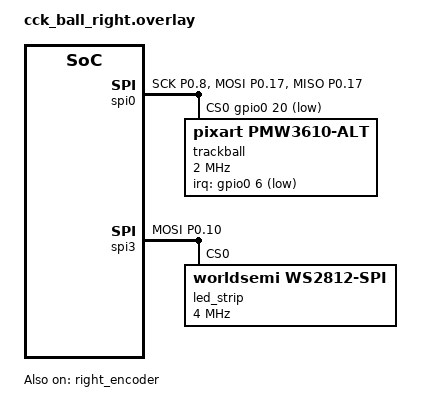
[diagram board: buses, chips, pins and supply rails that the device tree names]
/*
 * Copyright (c) 2020 ZMK Contributors
 *
 * SPDX-License-Identifier: MIT
 */
 
#include "cck_ball.dtsi"
#include <input/processors.dtsi>
#include <dt-bindings/zmk/input_transform.h>

#define INPUT_EV_KEY 0x01               /**< Key event */
#define INPUT_EV_REL 0x02               /**< Relative coordinate event */
#define INPUT_EV_ABS 0x03               /**< Absolute coordinate event */
#define INPUT_EV_MSC 0x04               /**< Miscellaneous event */
#define INPUT_EV_VENDOR_START 0xf0      /**< Vendor specific event start */
#define INPUT_EV_VENDOR_STOP 0xff       /**< Vendor specific event stop */

#define INPUT_REL_X 0x00                /**< Relative X coordinate */
#define INPUT_REL_Y 0x01                /**< Relative Y coordinate */
#define INPUT_REL_WHEEL 0x08            /**< Relative wheel coordinate */
#define INPUT_REL_HWHEEL 0x06           /**< Relative horizontal wheel coordinate */
#define INPUT_REL_MISC 0x09             /**< Relative misc coordinate */

&matrix_transform0 {
    col-offset = <6>;
}; 

&kscan0 {
	col-gpios
		= <&gpio1 15 GPIO_ACTIVE_HIGH>
        , <&gpio0 9 GPIO_ACTIVE_HIGH>
        , <&gpio0 10 GPIO_ACTIVE_HIGH>
        , <&gpio1 11 GPIO_ACTIVE_HIGH>
        , <&gpio1 4 GPIO_ACTIVE_HIGH>
        , <&gpio1 6 GPIO_ACTIVE_HIGH>
		;
};

// trackball
&pinctrl {
    spi0_default: spi0_default {
        group1 {
            psels = <NRF_PSEL(SPIM_SCK, 0, 8)>,
                <NRF_PSEL(SPIM_MOSI, 0, 17)>,
                <NRF_PSEL(SPIM_MISO, 0, 17)>;
        };
    };

    spi0_sleep: spi0_sleep {
        group1 {
            psels = <NRF_PSEL(SPIM_SCK, 0, 8)>,
                <NRF_PSEL(SPIM_MOSI, 0, 17)>,
                <NRF_PSEL(SPIM_MISO, 0, 17)>;
            low-power-enable;
        };
    };
};

&spi0 {
    status = "okay";
    compatible = "nordic,nrf-spim";
    pinctrl-0 = <&spi0_default>;
    pinctrl-1 = <&spi0_sleep>;
    pinctrl-names = "default", "sleep";
    cs-gpios = <&gpio0 20 GPIO_ACTIVE_LOW>;

    trackball: trackball@0 {
        status = "okay";
        compatible = "pixart,pmw3610-alt";
        reg = <0>;
        spi-max-frequency = <2000000>;
        irq-gpios = <&gpio0 6 (GPIO_ACTIVE_LOW | GPIO_PULL_UP)>;
        cpi = <600>;
        swap-xy;
        evt-type = <INPUT_EV_REL>;
        x-input-code = <INPUT_REL_X>;
        y-input-code = <INPUT_REL_Y>;
    };
};

/ {
    trackball_listener {
        compatible = "zmk,input-listener";
        device = <&trackball>;

        input-processors = <&zip_temp_layer 8 500>;

        scroller {
            layers = <4>;
            input-processors = <&zip_xy_to_scroll_mapper>,
                               <&zip_xy_transform (INPUT_TRANSFORM_X_INVERT | INPUT_TRANSFORM_Y_INVERT)>;
        };
    };
};

//RGB bus
&pinctrl {
    spi3_default: spi3_default {
        group1 {
            psels = <NRF_PSEL(SPIM_MOSI, 0, 10)>;
        };
    };

    spi3_sleep: spi3_sleep {
        group1 {
            psels = <NRF_PSEL(SPIM_MOSI, 0, 10)>;
            low-power-enable;
        };
    };
};

&spi3 {
    compatible = "nordic,nrf-spim";
    status = "okay";

    pinctrl-0 = <&spi3_default>;
    pinctrl-1 = <&spi3_sleep>;
    pinctrl-names = "default", "sleep";

    led_strip: ws2812@0 {
        compatible = "worldsemi,ws2812-spi";

        /* SPI */
        reg = <0>; /* ignored, but necessary for SPI bindings */
        spi-max-frequency = <4000000>;

        /* WS2812 */
        chain-length = <27>; /* number of LEDs */
        spi-one-frame = <0x70>;
        spi-zero-frame = <0x40>;
        color-mapping = <LED_COLOR_ID_GREEN
                         LED_COLOR_ID_RED
                         LED_COLOR_ID_BLUE>;
    };
};

// enable right encoder
&right_encoder {
	status = "okay";
};

